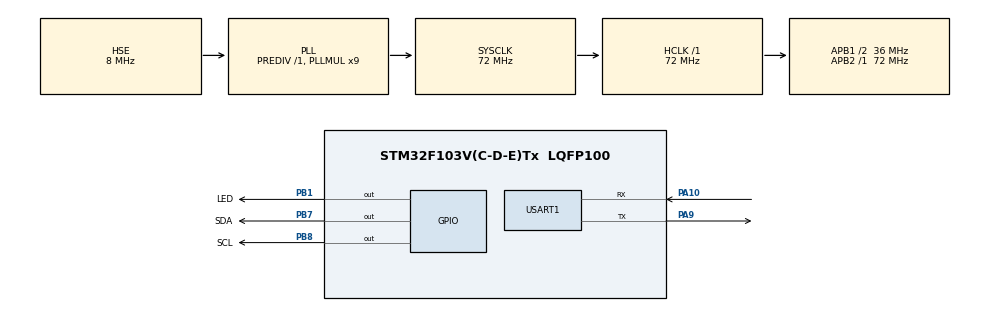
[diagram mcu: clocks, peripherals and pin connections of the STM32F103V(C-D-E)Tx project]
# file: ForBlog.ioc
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Dma.Request0=USART1_RX
Dma.Request1=USART1_TX
Dma.USART1_RX.0.Direction=DMA_PERIPH_TO_MEMORY
Dma.USART1_RX.0.Instance=DMA1_Channel5
Dma.USART1_RX.0.MemDataAlignment=DMA_MDATAALIGN_BYTE
Dma.USART1_RX.0.MemInc=DMA_MINC_ENABLE
Dma.USART1_RX.0.Mode=DMA_CIRCULAR
Dma.USART1_RX.0.PeriphDataAlignment=DMA_PDATAALIGN_BYTE
Dma.USART1_RX.0.PeriphInc=DMA_PINC_DISABLE
Dma.USART1_RX.0.Priority=DMA_PRIORITY_LOW
Dma.USART1_TX.1.Direction=DMA_MEMORY_TO_PERIPH
Dma.USART1_TX.1.Instance=DMA1_Channel4
Dma.USART1_TX.1.MemDataAlignment=DMA_MDATAALIGN_BYTE
Dma.USART1_TX.1.MemInc=DMA_MINC_ENABLE
Dma.USART1_TX.1.Mode=DMA_NORMAL
Dma.USART1_TX.1.PeriphDataAlignment=DMA_PDATAALIGN_BYTE
Dma.USART1_TX.1.PeriphInc=DMA_PINC_DISABLE
Dma.USART1_TX.1.Priority=DMA_PRIORITY_LOW
Mcu.Family=STM32F1
Mcu.Name=STM32F103V(C-D-E)Tx
Mcu.Package=LQFP100
NVIC.DMA1_Channel4_IRQn=true\:1\:0\:true\:false\:true\:false\:true
NVIC.DMA1_Channel5_IRQn=true\:1\:0\:true\:false\:true\:false\:true
NVIC.PriorityGroup=NVIC_PRIORITYGROUP_4
NVIC.USART1_IRQn=true\:1\:0\:true\:false\:true\:true\:true
OSC_IN.Mode=HSE-External-Oscillator
OSC_IN.Signal=RCC_OSC_IN
OSC_OUT.Mode=HSE-External-Oscillator
OSC_OUT.Signal=RCC_OSC_OUT
PA10.Mode=Asynchronous
PA10.Signal=USART1_RX
PA13.Mode=Serial_Wire
PA13.Signal=SYS_JTMS-SWDIO
PA14.Mode=Serial_Wire
PA14.Signal=SYS_JTCK-SWCLK
PA9.Mode=Asynchronous
PA9.Signal=USART1_TX
PB1.GPIO_Label=LED
PB1.Signal=GPIO_Output
PB7.GPIO_Label=SDA
PB7.Signal=GPIO_Output
PB8.GPIO_Label=SCL
PB8.Signal=GPIO_Output
ProjectManager.HeapSize=0x200
ProjectManager.StackSize=0x400
ProjectManager.TargetToolchain=MDK-ARM V5.32
RCC.AHBFreq_Value=72000000
RCC.APB1CLKDivider=RCC_HCLK_DIV2
RCC.APB1Freq_Value=36000000
RCC.APB1TimFreq_Value=72000000
RCC.APB2Freq_Value=72000000
RCC.APB2TimFreq_Value=72000000
RCC.HCLKFreq_Value=72000000
RCC.PLLMUL=RCC_PLL_MUL9
RCC.PLLSourceVirtual=RCC_PLLSOURCE_HSE
RCC.SYSCLKFreq_VALUE=72000000
RCC.SYSCLKSource=RCC_SYSCLKSOURCE_PLLCLK
RCC.USBFreq_Value=72000000
USART1.VirtualMode=VM_ASYNC
board=custom

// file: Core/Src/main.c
/* USER CODE BEGIN Header */
/**
  ******************************************************************************
  * @file           : main.c
  * @brief          : Main program body
  ******************************************************************************
  * @attention
  *
  * Copyright (c) 2022 STMicroelectronics.
  * All rights reserved.
  *
  * This software is licensed under terms that can be found in the LICENSE file
  * in the root directory of this software component.
  * If no LICENSE file comes with this software, it is provided AS-IS.
  *
  ******************************************************************************
  */
/* USER CODE END Header */
#include "main.h"
#include "dma.h"
#include "usart.h"
#include "gpio.h"

/* USER CODE BEGIN Includes */

#include <string.h>
#include "S_IIC.h"

/* USER CODE END Includes */

/* USER CODE BEGIN PV */

uint8_t USART1_Hello[] = {0x01,0x02,0x03,0x04};
uint8_t USART1_SHT30[] = {0x01,0x01,0x01,0x01};
uint8_t USART1_Callback[] = "hello!";

/* USER CODE END PV */

void SystemClock_Config(void);

int main(void)
{

  /* MCU Configuration--------------------------------------------------------*/

  /* Reset of all peripherals, Initializes the Flash interface and the Systick. */
  HAL_Init();

  /* USER CODE BEGIN Init */
  memset(DATA_CACHE,0,RX1BUFFERSIZE);
  memset(USART_RX1_BUFFER,0,RX1BUFFERSIZE);
  /* USER CODE END Init */

  /* Configure the system clock */
  SystemClock_Config();

  /* Initialize all configured peripherals */
  MX_GPIO_Init();
  MX_DMA_Init();
  MX_USART1_UART_Init();
  /* USER CODE BEGIN 2 */

  HAL_UART_Transmit_DMA(&huart1,USART_RX1_BUFFER,RX1BUFFERSIZE);
  // STM32_Init();

  /* USER CODE END 2 */

  /* Infinite loop */
  /* USER CODE BEGIN WHILE */
  while (1)
  {
    // HAL_GPIO_TogglePin(GPIOB,LED_Pin);
    // HAL_Delay(500);

    // if (memcmp(DATA_CACHE,USART1_Hello,sizeof(USART1_Hello)) == RESET )
    // {

    //   HAL_UART_Transmit(&huart1,USART1_Callback,sizeof(USART1_Callback),0xFFFF);
    //   delay_us(500000);
    //   HAL_UART_Transmit(&huart1,USART1_Callback,sizeof(USART1_Callback),0xFFFF);
    //   memset(DATA_CACHE,0,sizeof(DATA_CACHE));
    // }

    // else if (memcmp(DATA_CACHE,USART1_SHT30,sizeof(USART1_SHT30)) == RESET )
    // {
    //   SHT30_ReadData(0x44);
    //   // SHT30_Init(0x44);
    //   HAL_Delay(20);
    //   memset(DATA_CACHE,0,RX1BUFFERSIZE);
    // }

    // HAL_GPIO_TogglePin(GPIOB,SDA_Pin);
    // HAL_GPIO_TogglePin(GPIOB,SCL_Pin);
    SHT30_ReadData(0x44);
    HAL_GPIO_TogglePin(GPIOB,LED_Pin);
    HAL_Delay(50);

    /* USER CODE END WHILE */

  }
}

void SystemClock_Config(void)
{
  RCC_OscInitTypeDef RCC_OscInitStruct = {0};
  RCC_ClkInitTypeDef RCC_ClkInitStruct = {0};

  /** Initializes the RCC Oscillators according to the specified parameters
  * in the RCC_OscInitTypeDef structure.
  */
  RCC_OscInitStruct.OscillatorType = RCC_OSCILLATORTYPE_HSE;
  RCC_OscInitStruct.HSEState = RCC_HSE_ON;
  RCC_OscInitStruct.HSEPredivValue = RCC_HSE_PREDIV_DIV1;
  RCC_OscInitStruct.HSIState = RCC_HSI_ON;
  RCC_OscInitStruct.PLL.PLLState = RCC_PLL_ON;
  RCC_OscInitStruct.PLL.PLLSource = RCC_PLLSOURCE_HSE;
  RCC_OscInitStruct.PLL.PLLMUL = RCC_PLL_MUL9;
  if (HAL_RCC_OscConfig(&RCC_OscInitStruct) != HAL_OK)
  {
    Error_Handler();
  }
  /** Initializes the CPU, AHB and APB buses clocks
  */
  RCC_ClkInitStruct.ClockType = RCC_CLOCKTYPE_HCLK|RCC_CLOCKTYPE_SYSCLK
                              |RCC_CLOCKTYPE_PCLK1|RCC_CLOCKTYPE_PCLK2;
  RCC_ClkInitStruct.SYSCLKSource = RCC_SYSCLKSOURCE_PLLCLK;
  RCC_ClkInitStruct.AHBCLKDivider = RCC_SYSCLK_DIV1;
  RCC_ClkInitStruct.APB1CLKDivider = RCC_HCLK_DIV2;
  RCC_ClkInitStruct.APB2CLKDivider = RCC_HCLK_DIV1;

  if (HAL_RCC_ClockConfig(&RCC_ClkInitStruct, FLASH_LATENCY_2) != HAL_OK)
  {
    Error_Handler();
  }
}

/* USER CODE BEGIN 4 */

// void STM32_Init(void)
// {

// }

void delay_us(__IO uint32_t delay)
{
    int last, curr, val;
    int temp;

    while (delay != 0)
    {
        temp = delay > 900 ? 900 : delay;
        last = SysTick->VAL;
        curr = last - CPU_FREQUENCY_MHZ * temp;
        if (curr >= 0)
        {
            do
            {
                val = SysTick->VAL;
            }
            while ((val < last) && (val >= curr));
        }
        else
        {
            curr += CPU_FREQUENCY_MHZ * 1000;
            do
            {
                val = SysTick->VAL;
            }
            while ((val <= last) || (val > curr));
        }
        delay -= temp;
    }
}

/* USER CODE END 4 */

void Error_Handler(void)
{
  __disable_irq();
  while (1)
  {
  }
}
